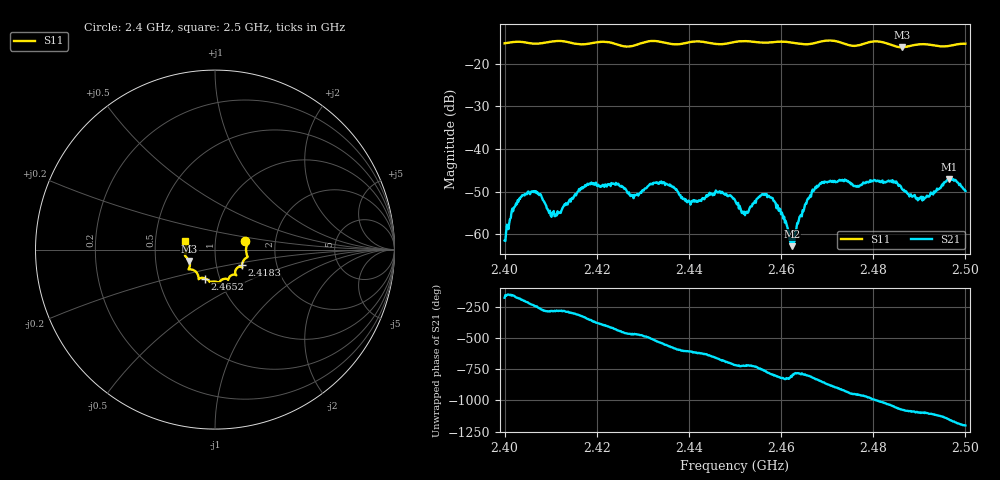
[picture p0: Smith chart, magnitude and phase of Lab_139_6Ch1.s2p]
# Hz S RI R 50
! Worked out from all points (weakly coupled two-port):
!   601 points, 2.4 GHz to 2.5 GHz, reference 50 ohm
!   highest |S21| = -47.05 dB at 2.4965 GHz (marker M1); lowest = -62.8 dB at 2.4623 GHz (marker M2)
!   lowest |S11| = -16.1 dB at 2.4862 GHz (marker M3), VSWR 1.37, Z = 37.2 - j4.86 ohm
!   |S11| at or under -10 dB: start of sweep to end of sweep
!   S12 and S22 are empty: the file has one direction only
!   S11 on the Smith chart (normalised r, x): 2.4 GHz: 1.40, +0.13; 2.4183 GHz: 1.33, -0.24; 2.4652 GHz: 0.85, -0.28; 2.5 GHz: 0.71, +0.07
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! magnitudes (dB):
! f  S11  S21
! 2.4 GHz  -15.2  -61.5
! 2.404 GHz  -14.9  -50.8
! 2.4073 GHz  -15.2  -50.6
! 2.4113 GHz  -14.6  -55.6
! 2.4167 GHz  -15.4  -49.4
! 2.4183 GHz  -15.2  -48.2
! 2.4278 GHz  -15.8  -50.8
! 2.4333 GHz  -14.7  -48.0
! 2.44 GHz  -14.9  -52.1
! 2.4463 GHz  -15.4  -50.2
! 2.45 GHz  -14.8  -52.0
! 2.4523 GHz  -14.6  -54.9
! 2.4577 GHz  -15.0  -51.4
! 2.4623 GHz  -15.0  -62.8
! 2.4652 GHz  -15.4  -53.2
! 2.4667 GHz  -15.3  -50.1
! 2.4693 GHz  -14.6  -48.0
! 2.4833 GHz  -15.3  -47.4
! 2.4862 GHz  -16.1  -49.2
! 2.491 GHz  -15.4  -51.9
! 2.4965 GHz  -15.8  -47.0
! 2.5 GHz  -15.3  -49.9
